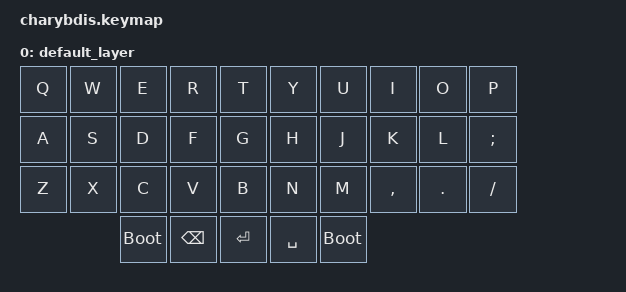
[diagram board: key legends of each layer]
#include "zmk-helpers/key-labels/36.h"
#include "charybdis.dtsi"

/*
 * Copyright (c) 2024 burkfers
 *
 * SPDX-License-Identifier: MIT
 */

#include <behaviors.dtsi>
#include <dt-bindings/zmk/keys.h>

/ {
    chosen {
        zmk,physical-layout = &charybdis_3x5_layout;
    };


    keymap {
        compatible = "zmk,keymap";

        default_layer {
            bindings = <
// ╭─────────────┬─────────────┬─────────────┬─────────────┬─────────────╮   ╭─────────────┬─────────────┬─────────────┬─────────────┬─────────────╮
     &kp Q         &kp W         &kp E         &kp R         &kp T             &kp Y         &kp U         &kp I         &kp O         &kp P
// ├─────────────┼─────────────┼─────────────┼─────────────┼─────────────┤   ├─────────────┼─────────────┼─────────────┼─────────────┼─────────────┤
     &kp A         &kp S         &kp D         &kp F         &kp G             &kp H         &kp J         &kp K         &kp L         &kp SEMI
// ├─────────────┼─────────────┼─────────────┼─────────────┼─────────────┤   ├─────────────┼─────────────┼─────────────┼─────────────┼─────────────┤
     &kp Z         &kp X         &kp C         &kp V         &kp B             &kp N         &kp M         &kp COMMA     &kp DOT       &kp SLASH
// ╰─────────────┴─────────────┴─────────────┼─────────────┼─────────────┤   ├─────────────┼─────────────┼─────────────┼─────────────┴─────────────╯
                                 &bootloader   &kp BACKSPACE &kp RET           &kp SPACE     &bootloader
//                             ╰─────────────┴─────────────┴─────────────╯   ╰─────────────┴─────────────╯
            >;
        };
    };
};

// #define X_LH_N 1
// #define X_LH_0 SYSCAPE

// #include "base.keymap"

// ZMK_APPLY_MATRIX_TRANSFORM(charybdis_3x5_transform)
